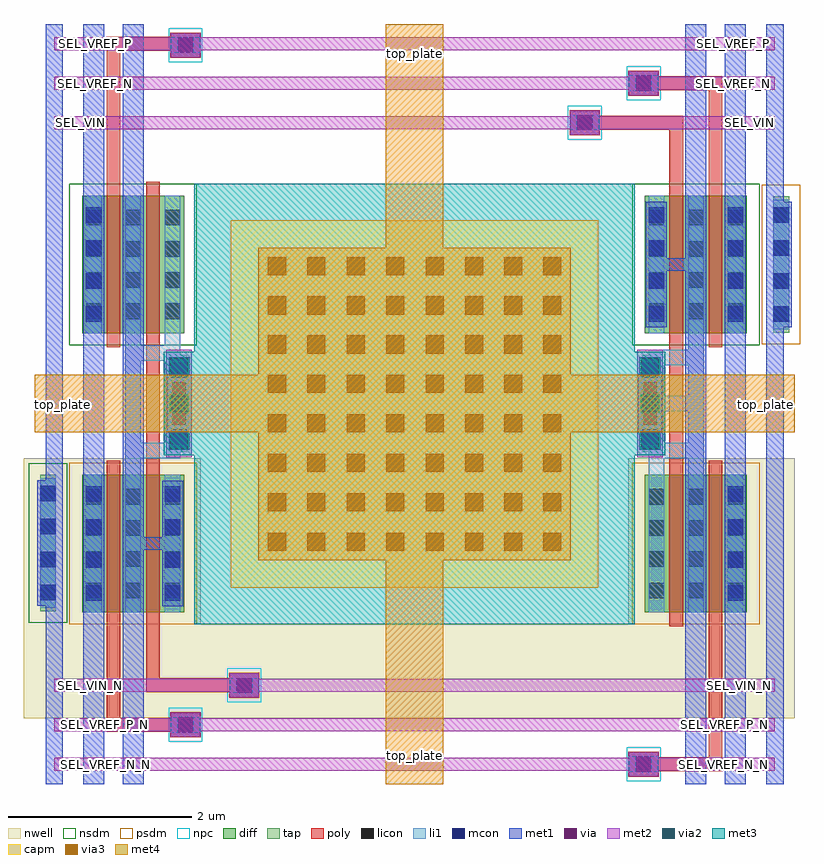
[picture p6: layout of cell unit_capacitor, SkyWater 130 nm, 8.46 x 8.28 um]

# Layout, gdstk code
from math import pi, radians
import gdstk
lib = gdstk.Library(unit=1e-6, precision=1e-09)
def R(c, l, rs):  # rectangles x0, y0, x1, y1
    for r in rs: c.add(gdstk.rectangle(r[:2], r[2:], *l))
def A(c, l, x, y, w, h, nx, ny, dx, dy):  # array of equal rectangles
    R(c, l, [(x+i*dx, y+j*dy, x+i*dx+w, y+j*dy+h) for i in range(nx) for j in range(ny)])
nwell = (64, 20)
diff = (65, 20)
tap = (65, 44)
poly = (66, 20)
licon = (66, 44)
li1 = (67, 20)
mcon = (67, 44)
met1 = (68, 20)
via = (68, 44)
met2 = (69, 20)
via2 = (69, 44)
met3 = (70, 20)
via3 = (70, 44)
met4 = (71, 20)
capm = (89, 44)
nsdm = (93, 44)
psdm = (94, 20)
npc = (95, 20)

cap_mim_m3__base_cdns_78 = lib.new_cell('cap_mim_m3__base_CDNS_788522546420')
R(cap_mim_m3__base_cdns_78, met3, [(-0.4,-0.4,4.4,4.4)])
A(cap_mim_m3__base_cdns_78, via3, 0.4, 0.4, 0.2, 0.2, 6, 6, 0.43, 0.43)
A(cap_mim_m3__base_cdns_78, via3, 2.975, 0.4, 0.2, 0.2, 1, 6, 0, 0.43)
A(cap_mim_m3__base_cdns_78, via3, 3.4, 0.4, 0.2, 0.2, 1, 6, 0, 0.43)
A(cap_mim_m3__base_cdns_78, via3, 0.4, 2.975, 0.2, 0.2, 6, 2, 0.43, 0.425)
R(cap_mim_m3__base_cdns_78, via3, [(2.975,2.975,3.175,3.175), (3.4,2.975,3.6,3.175), (2.975,3.4,3.175,3.6), (3.4,3.4,3.6,3.6)])
R(cap_mim_m3__base_cdns_78, met4, [(0.3,0.3,3.7,3.7)])
R(cap_mim_m3__base_cdns_78, capm, [(0,0,4,4)])

pfet_01v8_cdns_788522546 = lib.new_cell('pfet_01v8_CDNS_788522546421')
R(pfet_01v8_cdns_788522546, nwell, [(-0.405,-0.18,0.595,1.68)])
R(pfet_01v8_cdns_788522546, diff, [(-0.225,0,0,1.5), (0,0,0.15,1.5), (0.15,0,0.415,1.5)])
R(pfet_01v8_cdns_788522546, poly, [(0,-0.15,0.15,-0.095), (0,-0.095,0.15,0), (0,0,0.15,1.5), (0,1.5,0.15,1.595), (0,1.595,0.15,1.65)])
A(pfet_01v8_cdns_788522546, licon, -0.225, 0.155, 0.17, 0.17, 1, 4, 0, 0.34)
A(pfet_01v8_cdns_788522546, licon, 0.205, 0.155, 0.17, 0.17, 1, 4, 0, 0.34)
R(pfet_01v8_cdns_788522546, li1, [(-0.225,0,-0.055,1.5), (0.205,0,0.375,1.5)])
R(pfet_01v8_cdns_788522546, psdm, [(-0.235,-0.13,0.555,1.63)])

c_pfet_01v8_cdns_788522546 = lib.new_cell('pfet_01v8_CDNS_788522546422')
R(c_pfet_01v8_cdns_788522546, nwell, [(-0.445,-0.18,0.385,1.68)])
R(c_pfet_01v8_cdns_788522546, diff, [(-0.265,0,0,1.5), (0,0,0.15,1.5), (0.15,0,0.205,1.5)])
R(c_pfet_01v8_cdns_788522546, poly, [(0,-0.15,0.15,-0.095), (0,-0.095,0.15,0), (0,0,0.15,1.5), (0,1.5,0.15,1.595), (0,1.595,0.15,1.65)])
A(c_pfet_01v8_cdns_788522546, licon, -0.225, 0.155, 0.17, 0.17, 1, 4, 0, 0.34)
R(c_pfet_01v8_cdns_788522546, li1, [(-0.225,0,-0.055,1.5)])
R(c_pfet_01v8_cdns_788522546, psdm, [(-0.405,-0.13,0.215,1.63)])

nfet_01v8_cdns_788522546 = lib.new_cell('nfet_01v8_CDNS_788522546423')
R(nfet_01v8_cdns_788522546, diff, [(-0.265,0,0,1.5), (0,0,0.15,1.5), (0.15,0,0.375,1.5)])
R(nfet_01v8_cdns_788522546, poly, [(0,-0.15,0.15,-0.095), (0,-0.095,0.15,0), (0,0,0.15,1.5), (0,1.5,0.15,1.595), (0,1.595,0.15,1.65)])
A(nfet_01v8_cdns_788522546, licon, -0.225, 0.155, 0.17, 0.17, 1, 4, 0, 0.34)
A(nfet_01v8_cdns_788522546, licon, 0.205, 0.155, 0.17, 0.17, 1, 4, 0, 0.34)
R(nfet_01v8_cdns_788522546, li1, [(-0.225,0,-0.055,1.5), (0.205,0,0.375,1.5)])
R(nfet_01v8_cdns_788522546, nsdm, [(-0.405,-0.13,0.385,1.63)])

c_nfet_01v8_cdns_788522546 = lib.new_cell('nfet_01v8_CDNS_788522546424')
R(c_nfet_01v8_cdns_788522546, diff, [(-0.055,0,0,1.5), (0,0,0.15,1.5), (0.15,0,0.415,1.5)])
R(c_nfet_01v8_cdns_788522546, poly, [(0,-0.15,0.15,-0.095), (0,-0.095,0.15,0), (0,0,0.15,1.5), (0,1.5,0.15,1.595), (0,1.595,0.15,1.65)])
A(c_nfet_01v8_cdns_788522546, licon, 0.205, 0.155, 0.17, 0.17, 1, 4, 0, 0.34)
R(c_nfet_01v8_cdns_788522546, li1, [(0.205,0,0.375,1.5)])
R(c_nfet_01v8_cdns_788522546, nsdm, [(-0.065,-0.13,0.555,1.63)])

unit_capacitor = lib.new_cell('unit_capacitor')
R(unit_capacitor, nwell, [(-0.12,0.715,8.28,1.74), (-0.12,1.7,0.41,3.55), (6.47,1.74,8.28,3.55)])
R(unit_capacitor, tap, [(0.06,1.88,0.23,3.37), (8.05,4.915,8.22,6.405)])
R(unit_capacitor, poly, [(6.47,0.08,6.8,0.35), (1.48,0.51,1.81,0.78), (2.12,0.94,2.45,1.21), (5.83,7.07,6.16,7.34), (6.47,7.5,6.8,7.77), (1.48,7.915,1.81,8.185)])
A(unit_capacitor, licon, 0.06, 2, 0.17, 0.17, 1, 4, 0, 0.36)
A(unit_capacitor, licon, 8.05, 5.035, 0.17, 0.17, 1, 4, 0, 0.36)
R(unit_capacitor, licon, [(6.55,0.13,6.72,0.3), (1.56,0.56,1.73,0.73), (2.2,0.99,2.37,1.16), (5.91,7.12,6.08,7.29), (6.55,7.55,6.72,7.72), (1.56,7.965,1.73,8.135)])
R(unit_capacitor, li1, [(6.47,0.13,6.8,0.3), (1.48,0.56,1.81,0.73), (2.12,0.99,2.45,1.16), (0.56,1.915,0.73,3.325), (1.42,1.915,1.59,3.325), (7.55,1.915,7.72,3.325), (0.06,1.92,0.23,3.33), (1.49,3.62,1.66,4.67), (6.62,3.62,6.79,4.67), (1.475,3.845,1.675,4.445), (6.605,3.845,6.805,4.445), (0.56,4.955,0.73,6.365), (6.69,4.955,6.86,6.365), (7.55,4.955,7.72,6.365), (8.05,4.955,8.22,6.365), (5.83,7.12,6.16,7.29), (6.47,7.55,6.8,7.72), (1.48,7.965,1.81,8.135)])
A(unit_capacitor, mcon, 0.56, 1.995, 0.17, 0.17, 1, 4, 0, 0.36)
A(unit_capacitor, mcon, 1.42, 1.995, 0.17, 0.17, 1, 4, 0, 0.36)
A(unit_capacitor, mcon, 7.55, 1.995, 0.17, 0.17, 1, 4, 0, 0.36)
A(unit_capacitor, mcon, 0.06, 2, 0.17, 0.17, 1, 4, 0, 0.36)
A(unit_capacitor, mcon, 0.56, 5.035, 0.17, 0.17, 1, 4, 0, 0.36)
A(unit_capacitor, mcon, 6.69, 5.035, 0.17, 0.17, 1, 4, 0, 0.36)
A(unit_capacitor, mcon, 7.55, 5.035, 0.17, 0.17, 1, 4, 0, 0.36)
A(unit_capacitor, mcon, 8.05, 5.035, 0.17, 0.17, 1, 4, 0, 0.36)
R(unit_capacitor, mcon, [(6.55,0.13,6.72,0.3), (1.56,0.56,1.73,0.73), (2.2,0.99,2.37,1.16), (1.49,3.7,1.66,3.87), (6.62,3.7,6.79,3.87), (1.49,4.06,1.66,4.23), (1.49,4.06,1.66,4.23), (6.62,4.06,6.79,4.23), (6.62,4.06,6.79,4.23), (1.49,4.42,1.66,4.59), (6.62,4.42,6.79,4.59), (5.91,7.12,6.08,7.29), (6.55,7.55,6.72,7.72), (1.56,7.965,1.73,8.135)])
R(unit_capacitor, met1, [(0.12,0,0.31,0.23), (0.53,0,0.76,0.23), (0.96,0,1.19,0.23), (7.09,0,7.32,0.23), (7.52,0,7.75,0.23), (7.97,0,8.16,0.23), (6.475,0.085,6.795,0.345), (6.475,0.085,6.795,0.345), (1.485,0.515,1.805,0.775), (1.485,0.515,1.805,0.775), (2.125,0.945,2.445,1.205), (2.125,0.945,2.445,1.205), (0.53,1.935,0.76,3.305), (1.39,1.935,1.62,3.305), (7.52,1.935,7.75,3.305), (0.03,1.94,0.26,3.31), (1.46,3.64,1.69,4.65), (6.59,3.64,6.82,4.65), (1.445,3.825,1.705,4.465), (1.445,3.825,1.705,4.465), (6.575,3.825,6.835,4.465), (6.575,3.825,6.835,4.465), (0.53,4.975,0.76,6.345), (6.66,4.975,6.89,6.345), (7.52,4.975,7.75,6.345), (8.02,4.975,8.25,6.345), (5.835,7.075,6.155,7.335), (5.835,7.075,6.155,7.335), (6.475,7.505,6.795,7.765), (6.475,7.505,6.795,7.765), (1.485,7.92,1.805,8.18), (1.485,7.92,1.805,8.18), (0.12,8.05,0.31,8.28), (0.53,8.05,0.76,8.28), (0.96,8.05,1.19,8.28), (7.09,8.05,7.32,8.28), (7.52,8.05,7.75,8.28), (7.97,8.05,8.16,8.28)])
R(unit_capacitor, via, [(6.56,0.14,6.71,0.29), (1.57,0.57,1.72,0.72), (2.21,1,2.36,1.15), (1.5,3.91,1.65,4.06), (6.63,3.91,6.78,4.06), (1.5,4.23,1.65,4.38), (6.63,4.23,6.78,4.38), (5.92,7.13,6.07,7.28), (6.56,7.56,6.71,7.71), (1.57,7.975,1.72,8.125)])
A(unit_capacitor, met2, 0.215, 0.145, 0.14, 0.14, 1, 3, 0, 0.43)
A(unit_capacitor, met2, 7.925, 0.145, 0.14, 0.14, 1, 3, 0, 0.43)
A(unit_capacitor, met2, 0.215, 7.135, 0.14, 0.14, 1, 3, 0, 0.43)
A(unit_capacitor, met2, 7.925, 7.135, 0.14, 0.14, 1, 3, 0, 0.43)
R(unit_capacitor, met2, [(6.475,0.085,6.795,0.345), (1.485,0.515,1.805,0.775), (2.125,0.945,2.445,1.205), (1.435,3.56,1.715,4.73), (6.565,3.56,6.845,4.73), (1.435,3.76,1.715,4.53), (6.565,3.76,6.845,4.53), (5.835,7.075,6.155,7.335), (6.475,7.505,6.795,7.765), (1.485,7.92,1.805,8.18)])
A(unit_capacitor, via2, 1.475, 3.645, 0.2, 0.2, 1, 3, 0, 0.4)
A(unit_capacitor, via2, 6.605, 3.645, 0.2, 0.2, 1, 3, 0, 0.4)
R(unit_capacitor, met3, [(1.41,3.58,1.74,4.71), (6.54,3.58,6.87,4.71)])
R(unit_capacitor, met4, [(3.825,0,4.455,0.63), (0,3.83,0.63,4.46), (7.65,3.83,8.28,4.46), (3.825,7.65,4.455,8.28)])
R(unit_capacitor, nsdm, [(-0.065,1.755,0.355,3.495)])
R(unit_capacitor, psdm, [(7.925,4.79,8.345,6.53)])
R(unit_capacitor, npc, [(6.45,0.03,6.82,0.4), (1.46,0.46,1.83,0.83), (2.1,0.89,2.47,1.26), (5.81,7.02,6.18,7.39), (6.45,7.45,6.82,7.82), (1.46,7.865,1.83,8.235)])
unit_capacitor.add(gdstk.FlexPath([(0.54,4.145),(2.44,4.145)], 0.63, ends="flush", simple_path=True, layer=71, datatype=20))  # met4
unit_capacitor.add(gdstk.FlexPath([(4.14,0.63),(4.14,2.44)], 0.63, ends="flush", simple_path=True, layer=71, datatype=20))  # met4
unit_capacitor.add(gdstk.FlexPath([(7.65,4.145),(5.84,4.145)], 0.63, ends="flush", simple_path=True, layer=71, datatype=20))  # met4
unit_capacitor.add(gdstk.FlexPath([(4.14,7.65),(4.14,5.84)], 0.63, ends="flush", simple_path=True, layer=71, datatype=20))  # met4
unit_capacitor.add(gdstk.FlexPath([(7.205,4.645),(7.205,4.91)], 0.17, ends=(0.085, 0), simple_path=True, layer=67, datatype=20))  # li1
unit_capacitor.add(gdstk.FlexPath([(7.205,3.635),(7.205,4.145)], 0.17, ends="extended", simple_path=True, layer=67, datatype=20))  # li1
unit_capacitor.add(gdstk.FlexPath([(1.075,4.695),(1.075,4.91)], 0.17, ends=(0.085, 0), simple_path=True, layer=67, datatype=20))  # li1
unit_capacitor.add(gdstk.FlexPath([(6.775,3.635),(6.775,4.145)], 0.17, ends="extended", simple_path=True, layer=67, datatype=20))  # li1
unit_capacitor.add(gdstk.FlexPath([(1.075,3.37),(1.075,3.635)], 0.17, ends=(0, 0.085), simple_path=True, layer=67, datatype=20))  # li1
unit_capacitor.add(gdstk.FlexPath([(6.775,4.645),(6.775,4.145)], 0.17, ends="extended", simple_path=True, layer=67, datatype=20))  # li1
unit_capacitor.add(gdstk.FlexPath([(6.775,3.37),(6.775,3.635)], 0.17, ends=(0, 0.085), simple_path=True, layer=67, datatype=20))  # li1
unit_capacitor.add(gdstk.FlexPath([(1.075,3.635),(1.075,4.695)], 0.17, ends="extended", simple_path=True, layer=67, datatype=20))  # li1
unit_capacitor.add(gdstk.FlexPath([(7.205,3.635),(6.775,3.635)], 0.17, ends="extended", simple_path=True, layer=67, datatype=20))  # li1
unit_capacitor.add(gdstk.FlexPath([(7.205,4.645),(6.775,4.645)], 0.17, ends="extended", simple_path=True, layer=67, datatype=20))  # li1
unit_capacitor.add(gdstk.FlexPath([(7.205,4.145),(7.205,4.645)], 0.17, ends="extended", simple_path=True, layer=67, datatype=20))  # li1
unit_capacitor.add(gdstk.FlexPath([(1.505,3.635),(1.505,4.96)], 0.17, ends=(0.085, 0), simple_path=True, layer=67, datatype=20))  # li1
unit_capacitor.add(gdstk.FlexPath([(7.205,3.37),(7.205,3.635)], 0.17, ends=(0, 0.085), simple_path=True, layer=67, datatype=20))  # li1
unit_capacitor.add(gdstk.FlexPath([(1.075,4.695),(1.42,4.695)], 0.17, ends=(0.085, 0), simple_path=True, layer=67, datatype=20))  # li1
unit_capacitor.add(gdstk.FlexPath([(6.775,4.145),(7.205,4.145)], 0.17, ends="extended", simple_path=True, layer=67, datatype=20))  # li1
unit_capacitor.add(gdstk.FlexPath([(1.075,3.635),(1.505,3.635)], 0.17, ends="extended", simple_path=True, layer=67, datatype=20))  # li1
unit_capacitor.add(gdstk.FlexPath([(7.42,6.56),(7.42,7.635)], 0.15, ends=(0, 0.075), simple_path=True, layer=66, datatype=20))  # poly
unit_capacitor.add(gdstk.FlexPath([(6.99,7.205),(5.995,7.205)], 0.15, ends=(0.075, 0), simple_path=True, layer=66, datatype=20))  # poly
unit_capacitor.add(gdstk.FlexPath([(7.42,7.635),(6.635,7.635)], 0.15, ends=(0.075, 0), simple_path=True, layer=66, datatype=20))  # poly
unit_capacitor.add(gdstk.FlexPath([(0.86,1.72),(0.86,0.645)], 0.15, ends=(0, 0.075), simple_path=True, layer=66, datatype=20))  # poly
unit_capacitor.add(gdstk.FlexPath([(1.29,1.075),(2.285,1.075)], 0.15, ends=(0.075, 0), simple_path=True, layer=66, datatype=20))  # poly
unit_capacitor.add(gdstk.FlexPath([(7.42,1.72),(7.42,0.215)], 0.15, ends=(0, 0.075), simple_path=True, layer=66, datatype=20))  # poly
unit_capacitor.add(gdstk.FlexPath([(1.29,3.52),(1.29,4.76)], 0.15, ends="flush", simple_path=True, layer=66, datatype=20))  # poly
unit_capacitor.add(gdstk.FlexPath([(1.645,8.065),(1.645,8.05)], 0.15, ends=(0.075, 0), simple_path=True, layer=66, datatype=20))  # poly
unit_capacitor.add(gdstk.FlexPath([(1.29,1.72),(1.29,1.075)], 0.15, ends=(0, 0.075), simple_path=True, layer=66, datatype=20))  # poly
unit_capacitor.add(gdstk.FlexPath([(0.86,6.56),(0.86,8.065)], 0.15, ends=(0, 0.075), simple_path=True, layer=66, datatype=20))  # poly
unit_capacitor.add(gdstk.FlexPath([(6.99,6.56),(6.99,7.205)], 0.15, ends=(0, 0.075), simple_path=True, layer=66, datatype=20))  # poly
unit_capacitor.add(gdstk.FlexPath([(0.86,8.065),(1.645,8.065)], 0.15, ends="extended", simple_path=True, layer=66, datatype=20))  # poly
unit_capacitor.add(gdstk.FlexPath([(6.99,3.52),(6.99,4.76)], 0.15, ends="flush", simple_path=True, layer=66, datatype=20))  # poly
unit_capacitor.add(gdstk.FlexPath([(7.42,0.215),(6.635,0.215)], 0.15, ends=(0.075, 0), simple_path=True, layer=66, datatype=20))  # poly
unit_capacitor.add(gdstk.FlexPath([(0.86,0.645),(1.645,0.645)], 0.15, ends=(0.075, 0), simple_path=True, layer=66, datatype=20))  # poly
unit_capacitor.add(gdstk.FlexPath([(1.075,2.62),(1.505,2.62)], 0.14, ends=(0.115, 0), simple_path=True, layer=68, datatype=20))  # met1
unit_capacitor.add(gdstk.FlexPath([(7.205,8.28),(7.205,5.66)], 0.23, ends=(0, 0.07), simple_path=True, layer=68, datatype=20))  # met1
unit_capacitor.add(gdstk.FlexPath([(0.645,8.28),(0.645,0)], 0.23, ends="flush", simple_path=True, layer=68, datatype=20))  # met1
unit_capacitor.add(gdstk.FlexPath([(7.205,5.66),(6.775,5.66)], 0.14, ends=(0.115, 0), simple_path=True, layer=68, datatype=20))  # met1
unit_capacitor.add(gdstk.FlexPath([(1.075,8.28),(1.075,2.62)], 0.23, ends=(0, 0.07), simple_path=True, layer=68, datatype=20))  # met1
unit_capacitor.add(gdstk.FlexPath([(7.635,8.28),(7.635,0)], 0.23, ends="flush", simple_path=True, layer=68, datatype=20))  # met1
unit_capacitor.add(gdstk.FlexPath([(0.215,8.28),(0.215,0)], 0.19, ends="flush", simple_path=True, layer=68, datatype=20))  # met1
unit_capacitor.add(gdstk.FlexPath([(1.075,2.62),(1.075,0)], 0.23, ends=(0.07, 0), simple_path=True, layer=68, datatype=20))  # met1
unit_capacitor.add(gdstk.FlexPath([(8.065,8.28),(8.065,0)], 0.19, ends="flush", simple_path=True, layer=68, datatype=20))  # met1
unit_capacitor.add(gdstk.FlexPath([(7.205,5.66),(7.205,0)], 0.23, ends=(0.07, 0), simple_path=True, layer=68, datatype=20))  # met1
unit_capacitor.add(gdstk.FlexPath([(0.255,7.635),(8.025,7.635)], 0.14, ends="flush", simple_path=True, layer=69, datatype=20))  # met2
unit_capacitor.add(gdstk.FlexPath([(0.255,8.065),(8.025,8.065)], 0.14, ends="flush", simple_path=True, layer=69, datatype=20))  # met2
unit_capacitor.add(gdstk.FlexPath([(0.255,7.205),(8.025,7.205)], 0.14, ends="flush", simple_path=True, layer=69, datatype=20))  # met2
unit_capacitor.add(gdstk.FlexPath([(0.255,0.215),(8.025,0.215)], 0.14, ends="flush", simple_path=True, layer=69, datatype=20))  # met2
unit_capacitor.add(gdstk.FlexPath([(0.255,0.645),(8.025,0.645)], 0.14, ends="flush", simple_path=True, layer=69, datatype=20))  # met2
unit_capacitor.add(gdstk.FlexPath([(0.255,1.075),(8.025,1.075)], 0.14, ends="flush", simple_path=True, layer=69, datatype=20))  # met2
unit_capacitor.add(gdstk.Reference(cap_mim_m3__base_cdns_78, (2.14,2.14)))
unit_capacitor.add(gdstk.Reference(pfet_01v8_cdns_788522546, (0.935,1.87), rotation=pi, x_reflection=True))
unit_capacitor.add(gdstk.Reference(pfet_01v8_cdns_788522546, (7.345,1.87)))
unit_capacitor.add(gdstk.Reference(c_pfet_01v8_cdns_788522546, (6.915,1.87)))
unit_capacitor.add(gdstk.Reference(c_pfet_01v8_cdns_788522546, (1.365,1.87), rotation=pi, x_reflection=True))
unit_capacitor.add(gdstk.Reference(nfet_01v8_cdns_788522546, (0.785,4.91)))
unit_capacitor.add(gdstk.Reference(nfet_01v8_cdns_788522546, (7.495,4.91), rotation=pi, x_reflection=True))
unit_capacitor.add(gdstk.Reference(c_nfet_01v8_cdns_788522546, (1.215,4.91)))
unit_capacitor.add(gdstk.Reference(c_nfet_01v8_cdns_788522546, (7.065,4.91), rotation=pi, x_reflection=True))
unit_capacitor.add(gdstk.Label('SEL_VREF_N', (7.615,7.635), layer=69, texttype=5))
unit_capacitor.add(gdstk.Label('SEL_VIN', (7.785,7.205), layer=69, texttype=5))
unit_capacitor.add(gdstk.Label('SEL_VREF_P', (7.62,8.065), layer=69, texttype=5))
unit_capacitor.add(gdstk.Label('SEL_VREF_N_N', (7.51,0.215), layer=69, texttype=5))
unit_capacitor.add(gdstk.Label('SEL_VIN_N', (7.685,1.075), layer=69, texttype=5))
unit_capacitor.add(gdstk.Label('SEL_VREF_P_N', (7.52,0.645), layer=69, texttype=5))
unit_capacitor.add(gdstk.Label('SEL_VREF_N_N', (0.775,0.215), layer=69, texttype=5))
unit_capacitor.add(gdstk.Label('SEL_VIN_N', (0.605,1.075), layer=69, texttype=5))
unit_capacitor.add(gdstk.Label('SEL_VREF_P_N', (0.765,0.645), layer=69, texttype=5))
unit_capacitor.add(gdstk.Label('SEL_VREF_N', (0.665,7.635), layer=69, texttype=5))
unit_capacitor.add(gdstk.Label('SEL_VIN', (0.5,7.205), layer=69, texttype=5))
unit_capacitor.add(gdstk.Label('SEL_VREF_P', (0.665,8.065), layer=69, texttype=5))
unit_capacitor.add(gdstk.Label('VREF_P', (0.6,0.07), layer=68, texttype=5))
unit_capacitor.add(gdstk.Label('VIN', (1.03,0.07), layer=68, texttype=5))
unit_capacitor.add(gdstk.Label('VDD', (0.19,0.07), layer=68, texttype=5))
unit_capacitor.add(gdstk.Label('VSS', (8.04,0.07), layer=68, texttype=5))
unit_capacitor.add(gdstk.Label('VIN', (7.16,0.07), layer=68, texttype=5))
unit_capacitor.add(gdstk.Label('VREF_N', (7.59,0.07), layer=68, texttype=5))
unit_capacitor.add(gdstk.Label('VSS', (8.04,8.12), layer=68, texttype=5))
unit_capacitor.add(gdstk.Label('VIN', (7.16,8.12), layer=68, texttype=5))
unit_capacitor.add(gdstk.Label('VREF_N', (7.59,8.12), layer=68, texttype=5))
unit_capacitor.add(gdstk.Label('VREF_P', (0.6,8.12), layer=68, texttype=5))
unit_capacitor.add(gdstk.Label('VIN', (1.03,8.12), layer=68, texttype=5))
unit_capacitor.add(gdstk.Label('VDD', (0.19,8.12), layer=68, texttype=5))
unit_capacitor.add(gdstk.Label('top_plate', (0.31,4.14), layer=71, texttype=5))
unit_capacitor.add(gdstk.Label('top_plate', (7.96,4.14), layer=71, texttype=5))
unit_capacitor.add(gdstk.Label('top_plate', (4.135,0.31), layer=71, texttype=5))
unit_capacitor.add(gdstk.Label('top_plate', (4.135,7.96), layer=71, texttype=5))

lib.write_gds('unit_capacitor.gds')
